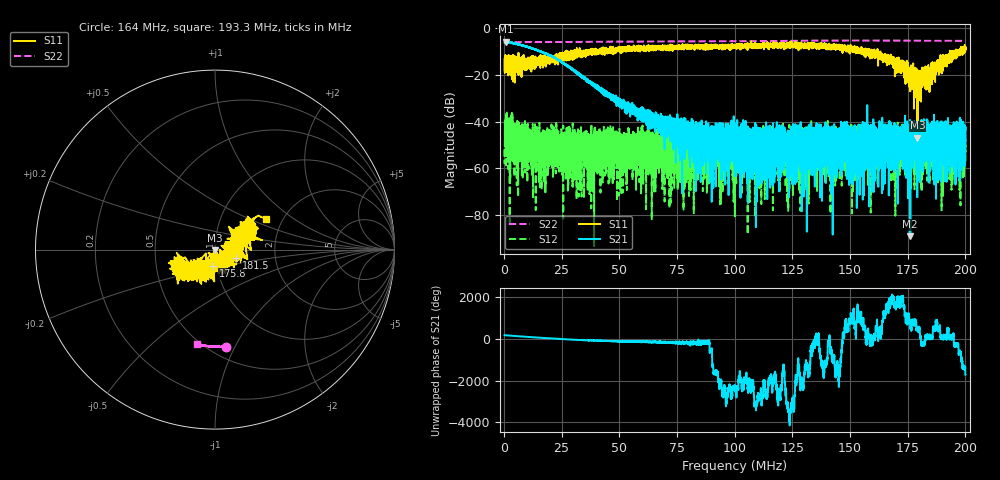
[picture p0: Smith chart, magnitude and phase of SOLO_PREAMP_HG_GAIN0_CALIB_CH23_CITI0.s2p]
# Hz S DB R 50
! CMT, M5065, 19127446, 24.2.4/2
! Date: 9/20/2024 3:22:18 PM
! Data: Format (Calibration Info)
! Freq	S11:dB/Ang(F2)	S21:dB/Ang(F2)	S12:dB/Ang(F2)	S22:dB/Ang(F2)
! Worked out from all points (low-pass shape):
!   7000 points, 300 kHz to 200 MHz, reference 50 ohm
!   highest |S21| = -5.79 dB at 728 kHz (marker M1); lowest = -89.0 dB at 176.1 MHz (marker M2)
!   |S21| within 3 dB of the highest: start of sweep to 12.27 MHz; 12.31 MHz to 12.43 MHz (118 kHz wide, 0.954 % of centre)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
!   lowest |S11| = -46.9 dB at 179.2 MHz (marker M3), VSWR 1.01, Z = 49.9 - j0.426 ohm
!   |S11| at or under -10 dB: start of sweep to 26.58 MHz; 161.9 MHz to 163.2 MHz (1.242 MHz wide, 0.764 % of centre); 163.2 MHz to 193.3 MHz (30.11 MHz wide, 16.9 % of centre)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
!   |S22| runs from -6.0 to -5.3 dB; largest |S21 - S12| = 0.52
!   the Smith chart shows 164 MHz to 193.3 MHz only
!   S11 on the Smith chart (normalised r, x): 164 MHz: 0.66, -0.08; 175.8 MHz: 0.96, -0.18; 181.5 MHz: 1.26, -0.12; 193.3 MHz: 1.65, +0.63
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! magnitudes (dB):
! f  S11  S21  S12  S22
! 300 kHz  -18.0  -6.1  -51.7  -6.0
! 728 kHz  -18.4  -5.8  -38.7  -5.9
! 11.23 MHz  -15.2  -8.5  -46.1  -5.9
! 13.25 MHz  -17.5  -9.0  -53.2  -5.9
! 33.6 MHz  -9.8  -20.6  -49.6  -5.9
! 37.19 MHz  -9.3  -22.7  -63.3  -5.8
! 45.78 MHz  -10.1  -28.0  -46.9  -5.8
! 52.49 MHz  -9.0  -33.1  -51.9  -5.7
! 66.87 MHz  -9.0  -41.0  -50.4  -5.7
! 89.75 MHz  -7.6  -49.5  -65.3  -5.6
! 100.2 MHz  -7.4  -46.0  -52.3  -5.6
! 120.9 MHz  -7.8  -51.9  -40.8  -5.4
! 128.5 MHz  -7.8  -60.9  -55.6  -5.4
! 133.5 MHz  -8.6  -58.2  -46.1  -5.3
! 164 MHz  -13.7  -48.0  -44.8  -5.3
! 166.7 MHz  -14.8  -47.5  -54.3  -5.3
! 175.8 MHz  -20.8  -57.6  -50.7  -5.3
! 176.1 MHz  -27.0  -89.0  -47.0  -5.3
! 179.2 MHz  -46.9  -45.9  -47.7  -5.3
! 181.5 MHz  -18.0  -52.6  -51.1  -5.4
! 193.3 MHz  -9.6  -43.0  -52.5  -5.4
! 200 MHz  -8.1  -43.6  -53.4  -5.4
